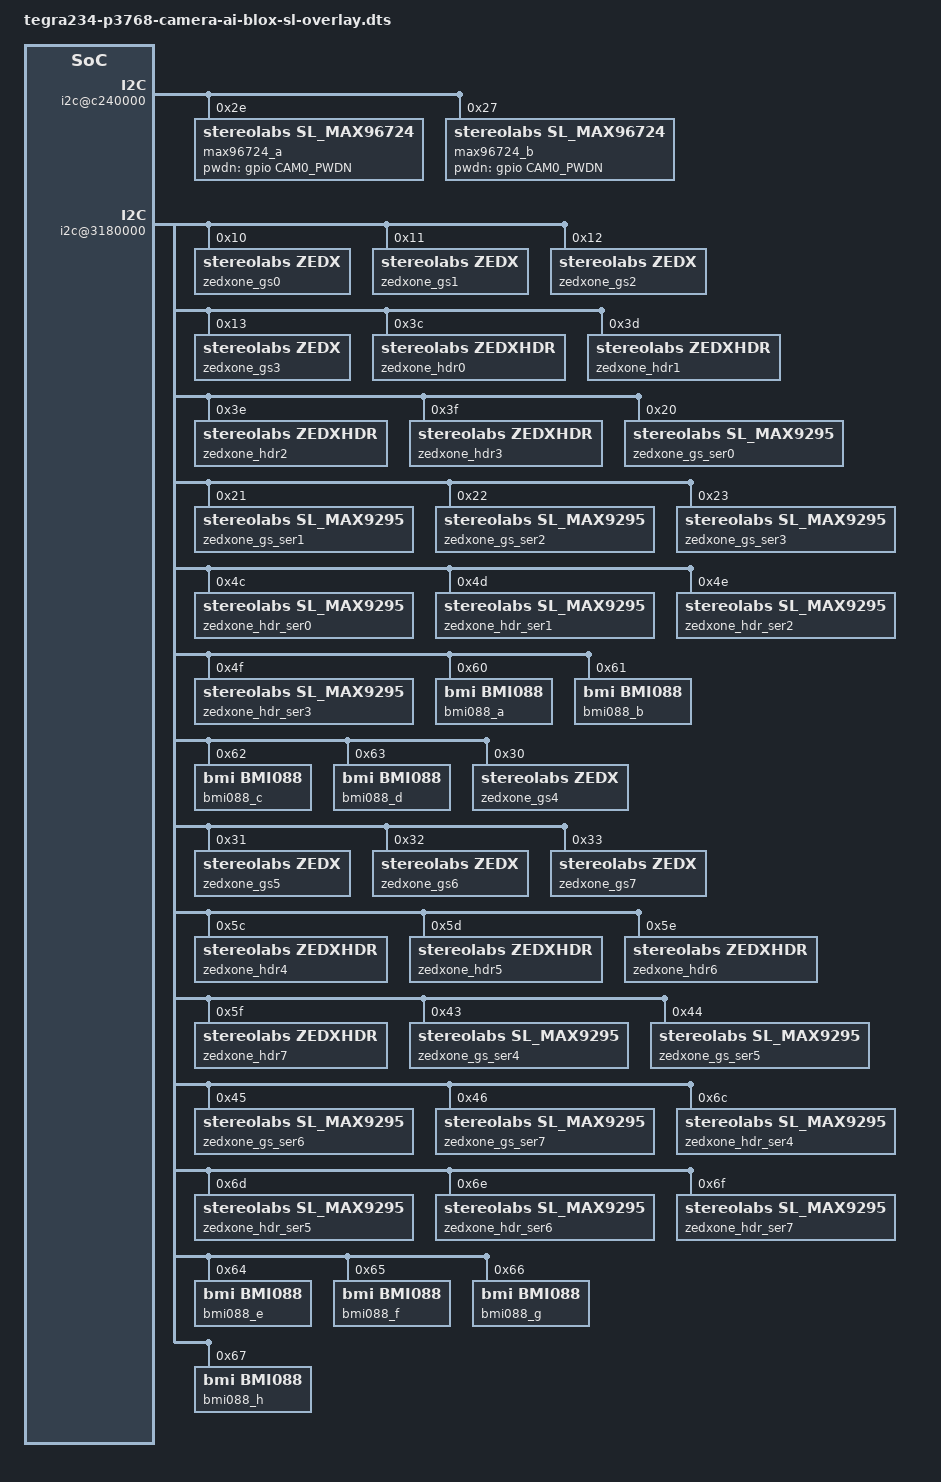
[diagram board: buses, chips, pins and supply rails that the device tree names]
// SPDX-License-Identifier: GPL-2.0-only
// SPDX-FileCopyrightText: Copyright (c) 2023-2024, NVIDIA CORPORATION & AFFILIATES. All rights reserved.

//DTS for JETSON Nano ORIN -> Streamer

/dts-v1/;
/plugin/;

#include "aiblox-onx16-camera.dtsi"
#include "Utils/camera-clks.dtsi"
#include "dt-bindings/clock/tegra234-clock.h"
#include "dt-bindings/gpio/tegra234-gpio.h"
#include <dt-bindings/tegra234-p3767-0000-common.h>

#define CAM0_RST_L  TEGRA234_MAIN_GPIO(H, 3)
#define CAM0_PWDN   TEGRA234_MAIN_GPIO(H, 6)
#define CAM1_RST_L  TEGRA234_MAIN_GPIO(AC, 1)
#define CAM1_PWDN   TEGRA234_MAIN_GPIO(AC, 0)
#define PWR_EN      TEGRA234_MAIN_GPIO(AC, 7)
#define CAM_I2C_MUX	TEGRA234_AON_GPIO(CC, 3)

#define CAMERA_I2C_MUX_BUS(x) (0x1E + x)

//DTS for Nano
/ {
	overlay-name = "Jetson Camera ZED-X + AI-Blox";
	jetson-header-name = "Jetson 24pin CSI Connector";
	compatible = JETSON_COMPATIBLE_P3768;
	
	
	fragment-camera-zedx-aiblox@0 {
		target-path = "/";
		__overlay__ {
			bus@0 {
				/* i2c-1 */
				i2c@c240000{
					
					max96724_a@2e {
						compatible = "stereolabs,sl_max96724";
						reg = <0x2e>;  /* deserializer i2c_address */
						channel = "a"; /* deserializer channel: one per deser */
						pwdn-gpio =	<&gpio CAM0_PWDN GPIO_ACTIVE_HIGH>;
						
						camera-serializers = <
						/* GMSL 0 */&zedxone_gs_ser0 &zedxone_hdr_ser0
						/* GMSL 1 */&zedxone_gs_ser1 &zedxone_hdr_ser1
						/* GMSL 2 */&zedxone_gs_ser2 &zedxone_hdr_ser2
						/* GMSL 3 */&zedxone_gs_ser3 &zedxone_hdr_ser3 >;
						
					};
					
					max96724_b@27 {
						compatible = "stereolabs,sl_max96724";
						reg = <0x27>;  /* deserializer i2c_address */
						channel = "b"; /* deserializer channel: one per deser */
						pwdn-gpio =	<&gpio CAM0_PWDN GPIO_ACTIVE_HIGH>;
						
						camera-serializers = <
						/* GMSL 0 */&zedxone_gs_ser4 &zedxone_hdr_ser4
						/* GMSL 1 */&zedxone_gs_ser5 &zedxone_hdr_ser5
						/* GMSL 2 */&zedxone_gs_ser6 &zedxone_hdr_ser6
						/* GMSL 3 */&zedxone_gs_ser7 &zedxone_hdr_ser7 >;
					};
				};
				
				/* i2c-2 */
				i2c@3180000{
					
					/* Channel A */
					
					/* ZEDX One GS 0 Cam */
					zedxone_gs0: zedxone_gs_0@10 {
						compatible = "stereolabs,zedx";
						reg = <0x10>;
						
						ZED_ORIN_CLKS
						
						zedx-id = "0";
						channel = "a"; /* deserializer channel */
						
						has-eeprom;
						eeprom-addr=<0x56>;
					};
					
					/* ZEDX One GS 1 Cam */
					zedxone_gs1: zedxone_gs_1@11 {
						compatible = "stereolabs,zedx";
						reg = <0x11>;
						
						ZED_ORIN_CLKS
						
						zedx-id = "1";
						channel = "a"; /* deserializer channel */
						
						has-eeprom;
						eeprom-addr=<0x56>;
					};
					
					/* ZEDX One GS 2 Cam */
					zedxone_gs2: zedxone_gs_2@12 {
						compatible = "stereolabs,zedx";
						reg = <0x12>;
						
						ZED_ORIN_CLKS
						
						zedx-id = "2";
						channel = "a";   /* deserializer channel */
						
						has-eeprom;
						eeprom-addr=<0x56>;
					};
					
					/* ZEDX One GS 3 Cam */
					zedxone_gs3: zedxone_gs_3@13 {
						compatible = "stereolabs,zedx";
						reg = <0x13>;
						
						ZED_ORIN_CLKS
						
						zedx-id = "3";
						channel = "a";   /* deserializer channel */
						
						has-eeprom;
						eeprom-addr=<0x56>;
					};
					
					/* ZEDX One pro Cam 0 */
					zedxone_hdr0: zedxone_hdr_0@3c {
						compatible = "stereolabs,zedxhdr";
						reg = <0x3c>;
						
						ZED_ORIN_CLKS
						
						zedx-id = "4";
						channel = "a";  /* deserializer channel */
						
						has-eeprom;
						eeprom-addr = <0x52>;
					};
					
					/* ZEDX One pro Cam 1 */
					zedxone_hdr1: zedxone_hdr_1@3d {
						compatible = "stereolabs,zedxhdr";
						reg = <0x3d>;
						
						ZED_ORIN_CLKS
						
						zedx-id = "5";
						channel = "a";  /* deserializer channel */
						
						has-eeprom;
						eeprom-addr = <0x52>;
					};
					
					/* ZEDX One pro Cam 2 */
					zedxone_hdr2: zedxone_hdr_2@3e {
						compatible = "stereolabs,zedxhdr";
						reg = <0x3e>;
						
						ZED_ORIN_CLKS
						
						channel = "a";  /* deserializer channel */
						zedx-id = "6";
						
						has-eeprom;
						eeprom-addr = <0x52>;
					};
					
					/* ZEDX One pro Cam 3 */
					zedxone_hdr3: zedxone_hdr_3@3f {
						compatible = "stereolabs,zedxhdr";
						reg = <0x3f>;
						
						ZED_ORIN_CLKS
						
						zedx-id = "7";
						channel = "a";  /* deserializer channel */
						
						has-eeprom;
						eeprom-addr = <0x52>;
					};
					
					
					/* Serializers */
					
					
					zedxone_gs_ser0: zedxone_gs_ser_0@20 {
						compatible = "stereolabs,sl_max9295";
						reg = <0x20>;
						
						zedx-id = "0";
						channel = "a";
						mode = "master";
						
						camera_model = "zedonegs";
						camera-sensors = <&zedxone_gs0>;
						imu = <&bmi088_a &bmi088_b &bmi088_c &bmi088_d>;
					};
					
					zedxone_gs_ser1: zedxone_gs_ser_1@21 {
						compatible = "stereolabs,sl_max9295";
						reg = <0x21>;
						
						zedx-id = "1";
						channel = "a";
						mode = "master";
						
						camera_model = "zedonegs";
						camera-sensors = <&zedxone_gs1>;
						imu = <&bmi088_a &bmi088_b &bmi088_c &bmi088_d>;
					};
					
					zedxone_gs_ser2: zedxone_gs_ser_2@22 {
						compatible = "stereolabs,sl_max9295";
						reg = <0x22>;
						
						zedx-id = "2";
						channel = "a";
						mode = "master";
						
						camera_model = "zedonegs";
						camera-sensors = <&zedxone_gs2>;
						imu = <&bmi088_a &bmi088_b &bmi088_c &bmi088_d>;
					};
					
					zedxone_gs_ser3: zedxone_gs_ser_3@23 {
						compatible = "stereolabs,sl_max9295";
						reg = <0x23>;
						
						zedx-id = "3";
						channel = "a";
						mode = "master";
						
						camera_model = "zedonegs";
						camera-sensors = <&zedxone_gs3>;
						imu = <&bmi088_a &bmi088_b &bmi088_c &bmi088_d>;
					};
					
					
					zedxone_hdr_ser0: zedxone_hdr_ser_0@4c {
						compatible = "stereolabs,sl_max9295";
						reg = <0x4c>;
						
						zedx-id = "4";
						channel = "a";
						mode = "master";
						
						camera_model = "zedonehdr";
						camera-sensors = <&zedxone_hdr0>;
						imu = <&bmi088_a &bmi088_b &bmi088_c &bmi088_d>;
					};
					
					zedxone_hdr_ser1: zedxone_hdr_ser_1@4d {
						compatible = "stereolabs,sl_max9295";
						reg = <0x4d>;
						
						zedx-id = "5";
						channel = "a";
						mode = "master";
						
						camera_model = "zedonehdr";
						camera-sensors = <&zedxone_hdr1>;
						imu = <&bmi088_a &bmi088_b &bmi088_c &bmi088_d>;
						
					};
					
					zedxone_hdr_ser2: zedxone_hdr_ser_2@4e {
						compatible = "stereolabs,sl_max9295";
						reg = <0x4e>;
						
						zedx-id = "6";
						channel = "a";
						mode = "master";
						
						camera_model = "zedonehdr";
						camera-sensors = <&zedxone_hdr2>;
						imu = <&bmi088_a &bmi088_b &bmi088_c &bmi088_d>;
					};
					
					zedxone_hdr_ser3: zedxone_hdr_ser_3@4f {
						compatible = "stereolabs,sl_max9295";
						reg = <0x4f>;
						
						zedx-id = "7";
						channel = "a";
						mode = "master";
						
						camera_model = "zedonehdr";
						camera-sensors = <&zedxone_hdr3>;
						imu = <&bmi088_a &bmi088_b &bmi088_c &bmi088_d>;
					};
					
					/* IMU A*/
					bmi088_a: bmi088_a_@60 {
						compatible = "bmi,bmi088";
						reg = <0x60>; /* <-- Must be gyroscope I2C address */
						accel_i2c_addr = <0x70>; /* Must be specified */
						accel_matrix    = [01 00 00 00 01 00 00 00 01];
						gyro_matrix        = [01 00 00 00 01 00 00 00 01];
					};
					
					/* IMU B*/
					bmi088_b: bmi088_b_@61 {
						compatible = "bmi,bmi088";
						reg = <0x61>; /* <-- Must be gyroscope I2C address */
						accel_i2c_addr = <0x71>; /* Must be specified */
						accel_matrix    = [01 00 00 00 01 00 00 00 01];
						gyro_matrix        = [01 00 00 00 01 00 00 00 01];
					};
					
					/* IMU C*/
					bmi088_c: bmi088_c_@62 {
						compatible = "bmi,bmi088";
						reg = <0x62>; /* <-- Must be gyroscope I2C address */
						accel_i2c_addr = <0x72>; /* Must be specified */
						accel_matrix    = [01 00 00 00 01 00 00 00 01];
						gyro_matrix        = [01 00 00 00 01 00 00 00 01];
					};
					
					/* IMU D*/
					bmi088_d: bmi088_d_@63 {
						compatible = "bmi,bmi088";
						reg = <0x63>; /* <-- Must be gyroscope I2C address */
						accel_i2c_addr = <0x73>; /* Must be specified */
						accel_matrix    = [01 00 00 00 01 00 00 00 01];
						gyro_matrix        = [01 00 00 00 01 00 00 00 01];
					};
					
					/* Channel B */
					
					/* ZEDX One GS 4 Cam */
					zedxone_gs4: zedxone_gs_4@30 {
						compatible = "stereolabs,zedx";
						reg = <0x30>;
						
						ZED_ORIN_CLKS
						
						zedx-id = "8";
						channel = "b";   /* deserializer channel */
						
						has-eeprom;
						eeprom-addr=<0x56>;
					};
					
					/* ZEDX One GS 5 Cam */
					zedxone_gs5: zedxone_gs_5@31 {
						compatible = "stereolabs,zedx";
						reg = <0x31>;
						
						ZED_ORIN_CLKS
						
						zedx-id = "9";
						channel = "b";   /* deserializer channel */
						
						has-eeprom;
						eeprom-addr=<0x56>;
					};
					
					/* ZEDX One GS 6 Cam */
					zedxone_gs6: zedxone_gs_6@32 {
						compatible = "stereolabs,zedx";
						reg = <0x32>;
						
						ZED_ORIN_CLKS
						
						zedx-id = "10";
						channel = "b";   /* deserializer channel */
						
						has-eeprom;
						eeprom-addr=<0x56>;
					};
					
					/* ZEDX One GS 3 Cam */
					zedxone_gs7: zedxone_gs_7@33 {
						compatible = "stereolabs,zedx";
						reg = <0x33>;
						
						ZED_ORIN_CLKS
						
						zedx-id = "11";
						channel = "b";   /* deserializer channel */
						
						has-eeprom;
						eeprom-addr=<0x56>;
					};
					
					/* ZEDX One pro Cam 4 */
					zedxone_hdr4: zedxone_hdr_4@5c {
						compatible = "stereolabs,zedxhdr";
						reg = <0x5c>;
						
						ZED_ORIN_CLKS
						
						zedx-id = "12";
						channel = "b";  /* deserializer channel */
						
						eeprom-addr = <0x52>;
						has-eeprom;
					};
					
					/* ZEDX One pro Cam 5 */
					zedxone_hdr5: zedxone_hdr_5@5d {
						compatible = "stereolabs,zedxhdr";
						reg = <0x5d>;
						
						ZED_ORIN_CLKS
						
						zedx-id = "13";
						channel = "b";  /* deserializer channel */
						
						has-eeprom;
						eeprom-addr = <0x52>;
					};
					
					/* ZEDX One pro Cam 6 */
					zedxone_hdr6: zedxone_hdr_6@5e {
						compatible = "stereolabs,zedxhdr";
						reg = <0x5e>;
						
						ZED_ORIN_CLKS
						
						zedx-id = "14";
						channel = "b";  /* deserializer channel */
						
						eeprom-addr = <0x52>;
						has-eeprom;
					};
					
					/* ZEDX One pro Cam 7 */
					zedxone_hdr7: zedxone_hdr_7@5f {
						compatible = "stereolabs,zedxhdr";
						reg = <0x5f>;
						
						ZED_ORIN_CLKS
						
						zedx-id = "15";
						channel = "b";  /* deserializer channel */
						
						has-eeprom;
						eeprom-addr = <0x52>;
					};
					
					/* Serializers */
					
					zedxone_gs_ser4: zedxone_gs_ser_4@43 {
						compatible = "stereolabs,sl_max9295";
						reg = <0x43>;
						
						zedx-id = "8";
						channel = "b";
						mode = "master";
						
						camera_model = "zedonegs";
						camera-sensors = <&zedxone_gs4>;
						imu = <&bmi088_e &bmi088_f &bmi088_g &bmi088_h>;
					};
					
					zedxone_gs_ser5: zedxone_gs_ser_5@44 {
						compatible = "stereolabs,sl_max9295";
						reg = <0x44>;
						
						zedx-id = "9";
						channel = "b";
						mode = "master";
						
						camera_model = "zedonegs";
						camera-sensors = <&zedxone_gs5>;
						imu = <&bmi088_e &bmi088_f &bmi088_g &bmi088_h>;
					};
					
					zedxone_gs_ser6: zedxone_gs_ser_6@45  {
						compatible = "stereolabs,sl_max9295";
						reg = <0x45>;
						
						zedx-id = "10";
						channel = "b";
						mode = "master";
						
						camera_model = "zedonegs";
						camera-sensors = <&zedxone_gs6>;
						imu = <&bmi088_e &bmi088_f &bmi088_g &bmi088_h>;
					};
					
					zedxone_gs_ser7: zedxone_gs_ser_7@46 {
						compatible = "stereolabs,sl_max9295";
						reg = <0x46>;
						
						zedx-id = "11";
						channel = "b";
						mode = "master";
						
						camera_model = "zedonegs";
						camera-sensors = <&zedxone_gs7>;
						imu = <&bmi088_e &bmi088_f &bmi088_g &bmi088_h>;
					};
					
					
					zedxone_hdr_ser4: zedxone_hdr_ser_4@6c {
						compatible = "stereolabs,sl_max9295";
						reg = <0x6c>;
						
						zedx-id = "12";
						channel = "b";
						mode = "master";
						
						camera_model = "zedonehdr";
						camera-sensors = <&zedxone_hdr4>;
						imu = <&bmi088_e &bmi088_f &bmi088_g &bmi088_h>;
					};
					
					zedxone_hdr_ser5: zedxone_hdr_ser_5@6d {
						compatible = "stereolabs,sl_max9295";
						reg = <0x6d>;
						
						zedx-id = "13";
						channel = "b";
						mode = "master";
						
						camera_model = "zedonehdr";
						camera-sensors = <&zedxone_hdr5>;
						imu = <&bmi088_e &bmi088_f &bmi088_g &bmi088_h>;
					};
					
					zedxone_hdr_ser6: zedxone_hdr_ser_6@6e {
						compatible = "stereolabs,sl_max9295";
						reg = <0x6e>;
						
						zedx-id = "14";
						channel = "b";
						mode = "master";
						
						camera_model = "zedonehdr";
						camera-sensors = <&zedxone_hdr6>;
						imu = <&bmi088_e &bmi088_f &bmi088_g &bmi088_h>;
					};
					
					zedxone_hdr_ser7: zedxone_hdr_ser_7@6f {
						compatible = "stereolabs,sl_max9295";
						reg = <0x6f>;
						
						zedx-id = "15";
						channel = "b";
						mode = "master";
						
						camera_model = "zedonehdr";
						camera-sensors = <&zedxone_hdr7>;
						imu = <&bmi088_e &bmi088_f &bmi088_g &bmi088_h>;
					};
					
					
					/* IMU A*/
					bmi088_e: bmi088_e_@64 {
						compatible = "bmi,bmi088";
						reg = <0x64>; /* <-- Must be gyroscope I2C address */
						accel_i2c_addr = <0x74>; /* Must be specified */
						accel_matrix    = [01 00 00 00 01 00 00 00 01];
						gyro_matrix        = [01 00 00 00 01 00 00 00 01];
					};
					
					/* IMU B*/
					bmi088_f: bmi088_f_@65 {
						compatible = "bmi,bmi088";
						reg = <0x65>; /* <-- Must be gyroscope I2C address */
						accel_i2c_addr = <0x75>; /* Must be specified */
						accel_matrix    = [01 00 00 00 01 00 00 00 01];
						gyro_matrix        = [01 00 00 00 01 00 00 00 01];
					};
					
					/* IMU C*/
					bmi088_g: bmi088_g_@66 {
						compatible = "bmi,bmi088";
						reg = <0x66>; /* <-- Must be gyroscope I2C address */
						accel_i2c_addr = <0x76>; /* Must be specified */
						accel_matrix    = [01 00 00 00 01 00 00 00 01];
						gyro_matrix        = [01 00 00 00 01 00 00 00 01];
					};
					
					/* IMU D*/
					bmi088_h: bmi088_h_@67 {
						compatible = "bmi,bmi088";
						reg = <0x67>; /* <-- Must be gyroscope I2C address */
						accel_i2c_addr = <0x77>; /* Must be specified */
						accel_matrix    = [01 00 00 00 01 00 00 00 01];
						gyro_matrix        = [01 00 00 00 01 00 00 00 01];
					};
					
				};
			};
		};
	};
};

